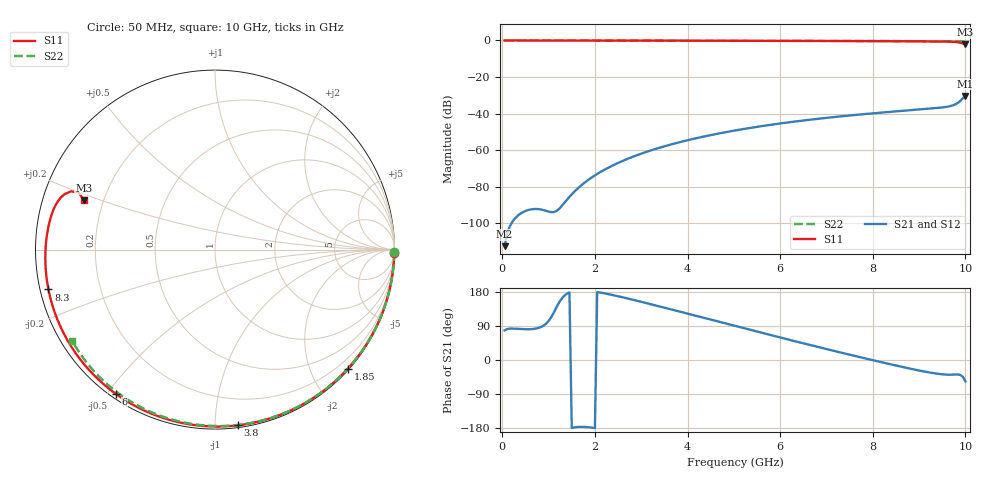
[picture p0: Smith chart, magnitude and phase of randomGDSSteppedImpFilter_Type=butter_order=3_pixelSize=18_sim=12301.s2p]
! freq	dB(S11)	phase(S11)	dB(S12)	phase(S12)
!  dB(S21)	phase(S21)	dB(S22)	phase(S22)
!S-par simulation data
#  GHz  S  DB  R 50
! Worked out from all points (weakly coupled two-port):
!   200 points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, 50 MHz to 10 GHz, reference 50 ohm
!   highest |S21| = -30.32 dB at 10 GHz (marker M1); lowest = -112.4 dB at 50 MHz (marker M2)
!   lowest |S11| = -2.1 dB at 10 GHz (marker M3), VSWR 8.15, Z = 6.33 + j8.96 ohm
!   |S11| at or under -10 dB: nowhere
!   |S22| runs from -0.5 to 0.0 dB; largest |S21 - S12| = 0
!   S11 on the Smith chart (normalised r, x): 50 MHz: 7, -98; 1.85 GHz: 0.02, -2.62; 3.8 GHz: 0.01, -1.14; 6 GHz: 0.02, -0.53; 8.3 GHz: 0.02, -0.12; 10 GHz: 0.13, +0.18
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0.05  -0.01 -1.2  -112.39 78.2  -112.39 78.2  -0.00 -0.8
0.8  -0.02 -18.3  -92.21 85.3  -92.21 85.3  -0.02 -13.5
1.65  -0.05 -37.4  -80.38 -176.4  -80.38 -176.4  -0.04 -27.7
1.75  -0.05 -39.6  -78.23 -176.4  -78.23 -176.4  -0.04 -29.3
1.85  -0.05 -41.8  -76.29 -177.3  -76.29 -177.3  -0.04 -31.0
2.15  -0.06 -48.4  -71.41 177.3  -71.41 177.3  -0.05 -35.9
2.5  -0.07 -55.9  -66.91 168.3  -66.91 168.3  -0.05 -41.5
2.9  -0.08 -64.3  -62.76 156.6  -62.76 156.6  -0.06 -47.9
3.4  -0.10 -74.6  -58.57 141.2  -58.57 141.2  -0.07 -55.7
3.8  -0.11 -82.6  -55.77 128.6  -55.77 128.6  -0.08 -61.9
4.4  -0.13 -94.4  -52.23 109.6  -52.23 109.6  -0.10 -71.0
5.05  -0.16 -106.8  -49.07 89.0  -49.07 89.0  -0.12 -80.5
6  -0.22 -124.4  -45.35 59.3  -45.35 59.3  -0.17 -94.1
6.7  -0.26 -137.2  -43.13 37.9  -43.13 37.9  -0.20 -103.7
7.5  -0.33 -151.7  -40.99 14.0  -40.99 14.0  -0.26 -114.5
8.3  -0.41 -166.6  -39.17 -9.0  -39.17 -9.0  -0.32 -125.1
8.35  -0.41 -167.5  -39.07 -10.4  -39.07 -10.4  -0.32 -125.8
9.05  -0.51 178.9  -37.66 -29.0  -37.66 -29.0  -0.39 -135.0
9.65  -0.67 165.6  -36.00 -38.7  -36.00 -38.7  -0.46 -142.9
9.8  -0.85 161.3  -34.70 -38.2  -34.70 -38.2  -0.48 -144.9
9.9  -1.25 158.0  -32.78 -40.0  -32.78 -40.0  -0.49 -146.2
10  -2.14 159.4  -30.32 -56.3  -30.32 -56.3  -0.49 -147.5
